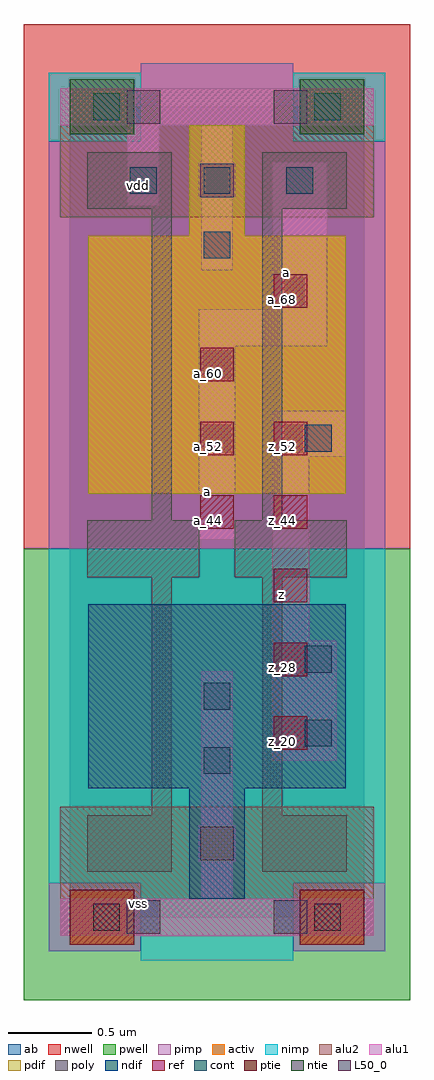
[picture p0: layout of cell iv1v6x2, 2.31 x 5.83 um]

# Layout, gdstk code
import gdstk
lib = gdstk.Library(unit=1e-6, precision=2.5e-09)
def R(c, l, rs):  # rectangles x0, y0, x1, y1
    for r in rs: c.add(gdstk.rectangle(r[:2], r[2:], *l))
def A(c, l, x, y, w, h, nx, ny, dx, dy):  # array of equal rectangles
    R(c, l, [(x+i*dx, y+j*dy, x+i*dx+w, y+j*dy+h) for i in range(nx) for j in range(ny)])
ndif = (3, 0)
pdif = (4, 0)
ntie = (5, 0)
ptie = (6, 0)
ref = (24, 0)
cont = (25, 0)
pwell = (41, 0)
nwell = (42, 0)
activ = (43, 0)
pimp = (44, 0)
nimp = (45, 0)
poly = (46, 0)
alu1 = (49, 0)
L50_0 = (50, 0)
alu2 = (51, 0)
ab = (63, 0)

iv1v6x2 = lib.new_cell('iv1v6x2')
R(iv1v6x2, ndif, [(0.715,0.11,1.045,0.77), (0.11,0.77,1.65,1.87)])
R(iv1v6x2, pdif, [(0.11,2.53,1.65,4.07), (0.715,4.07,1.045,4.73)])
R(iv1v6x2, ntie, [(0,4.675,0.385,5.005), (1.375,4.675,1.76,5.005)])
R(iv1v6x2, ptie, [(0,-0.165,0.385,0.165), (1.375,-0.165,1.76,0.165)])
A(iv1v6x2, ref, 1.22, 1, 0.2, 0.2, 1, 5, 0, 0.44)
A(iv1v6x2, ref, 0.78, 2.32, 0.2, 0.2, 1, 3, 0, 0.44)
R(iv1v6x2, ref, [(1.22,3.64,1.42,3.84)])
R(iv1v6x2, cont, [(0.14,-0.08,0.3,0.08), (1.46,-0.08,1.62,0.08), (0.8,0.855,0.96,1.015), (1.405,1.02,1.565,1.18), (0.8,1.24,0.96,1.4), (1.405,1.46,1.565,1.62), (1.405,2.78,1.565,2.94), (0.8,3.935,0.96,4.095), (0.36,4.32,0.52,4.48), (0.8,4.32,0.96,4.48), (1.295,4.32,1.455,4.48), (0.14,4.76,0.3,4.92), (1.46,4.76,1.62,4.92)])
R(iv1v6x2, pwell, [(-0.275,-0.495,2.035,2.2)])
R(iv1v6x2, nwell, [(-0.275,2.2,2.035,5.335)])
R(iv1v6x2, activ, [(0,-0.165,0.385,0.165), (1.375,-0.165,1.76,0.165), (0.715,0.11,1.045,0.77), (0.11,0.77,1.65,1.87), (0.11,2.53,1.65,4.07), (0.715,4.07,1.045,4.73), (0,4.675,0.385,5.005), (1.375,4.675,1.76,5.005)])
R(iv1v6x2, pimp, [(-0.125,-0.205,0.425,0.205), (1.335,-0.205,1.885,0.205), (-0.125,2.2,1.885,4.635), (0.425,4.635,1.335,5.1)])
R(iv1v6x2, nimp, [(0.425,-0.26,1.335,0.205), (-0.125,0.205,1.885,2.2), (-0.125,4.635,0.425,5.045), (1.335,4.635,1.885,5.045)])
R(iv1v6x2, poly, [(0.105,0.27,0.61,0.61), (1.15,0.27,1.655,0.61), (0.49,0.61,0.61,2.03), (1.15,0.61,1.27,2.03), (0.105,2.03,0.775,2.37), (0.985,2.03,1.655,2.37), (0.49,2.37,0.61,4.23), (1.15,2.37,1.27,4.23), (0.105,4.23,0.61,4.57), (1.15,4.23,1.655,4.57)])
R(iv1v6x2, alu1, [(-0.055,-0.11,1.815,0.11), (0.785,0.11,0.975,0.33), (0.77,0.33,0.99,0.55), (0.785,0.55,0.975,1.47), (1.21,0.935,1.595,1.65), (1.21,1.65,1.43,2.75), (0.77,2.255,0.99,3.41), (1.21,2.75,1.65,3.025), (0.77,3.41,1.54,3.63), (1.21,3.63,1.54,4.51), (0.785,3.865,0.975,4.29), (0.345,4.25,0.535,4.73), (0.77,4.29,0.99,4.51), (0.785,4.51,0.975,4.73), (-0.055,4.73,1.815,4.95)])
R(iv1v6x2, L50_0, [(0.34,-0.1,0.54,0.1), (1.22,-0.1,1.42,0.1), (0.78,0.34,0.98,0.54), (0.78,4.3,0.98,4.5), (0.34,4.74,0.54,4.94), (1.22,4.74,1.42,4.94)])
R(iv1v6x2, alu2, [(-0.055,-0.11,1.815,0.66), (-0.055,4.18,1.815,4.95)])
R(iv1v6x2, ab, [(0,0,1.76,4.84)])
iv1v6x2.add(gdstk.Label('z', (1.265,1.925), layer=49, texttype=0))
iv1v6x2.add(gdstk.Label('a', (0.825,2.5425), layer=49, texttype=0))
iv1v6x2.add(gdstk.Label('a', (1.2925,3.85), layer=49, texttype=0))
iv1v6x2.add(gdstk.Label('vss', (0.4125,0.0825), layer=51, texttype=0))
iv1v6x2.add(gdstk.Label('vdd', (0.4125,4.3725), layer=51, texttype=0))
iv1v6x2.add(gdstk.Label('a_60', (0.83,3.25), layer=24, texttype=0))
iv1v6x2.add(gdstk.Label('a_68', (1.27,3.69), layer=24, texttype=0))
iv1v6x2.add(gdstk.Label('z_28', (1.27,1.49), layer=24, texttype=0))
iv1v6x2.add(gdstk.Label('z_36', (1.27,1.93), layer=24, texttype=0))
iv1v6x2.add(gdstk.Label('z_44', (1.27,2.37), layer=24, texttype=0))
iv1v6x2.add(gdstk.Label('a_44', (0.83,2.37), layer=24, texttype=0))
iv1v6x2.add(gdstk.Label('z_52', (1.27,2.81), layer=24, texttype=0))
iv1v6x2.add(gdstk.Label('a_52', (0.83,2.81), layer=24, texttype=0))
iv1v6x2.add(gdstk.Label('z_20', (1.27,1.05), layer=24, texttype=0))

lib.write_gds('iv1v6x2.gds')
